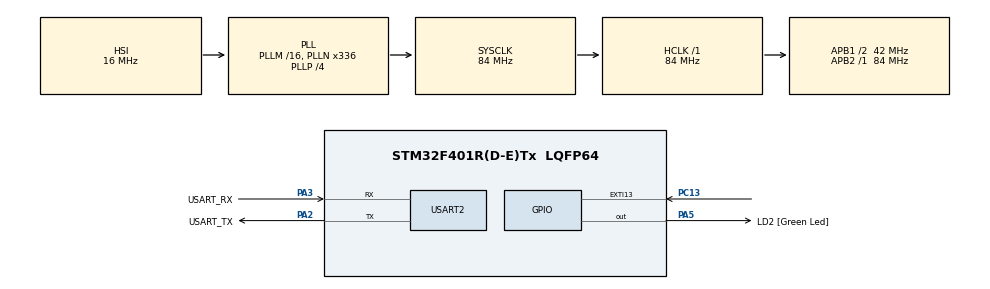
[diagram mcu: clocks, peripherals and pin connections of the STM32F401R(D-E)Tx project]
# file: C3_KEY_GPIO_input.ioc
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Mcu.Family=STM32F4
Mcu.Name=STM32F401R(D-E)Tx
Mcu.Package=LQFP64
NVIC.EXTI15_10_IRQn=true\:0\:0\:false\:false\:true\:true\:true
NVIC.PriorityGroup=NVIC_PRIORITYGROUP_0
PA13.GPIO_Label=TMS
PA13.Mode=Serial_Wire
PA13.Signal=SYS_JTMS-SWDIO
PA14.GPIO_Label=TCK
PA14.Mode=Serial_Wire
PA14.Signal=SYS_JTCK-SWCLK
PA2.GPIO_Label=USART_TX
PA2.GPIO_Mode=GPIO_MODE_AF_PP
PA2.GPIO_PuPd=GPIO_NOPULL
PA2.GPIO_Speed=GPIO_SPEED_FREQ_LOW
PA2.Mode=Asynchronous
PA2.Signal=USART2_TX
PA3.GPIO_Label=USART_RX
PA3.GPIO_Mode=GPIO_MODE_AF_PP
PA3.GPIO_PuPd=GPIO_NOPULL
PA3.GPIO_Speed=GPIO_SPEED_FREQ_LOW
PA3.Mode=Asynchronous
PA3.Signal=USART2_RX
PA5.GPIO_Label=LD2 [Green Led]
PA5.GPIO_Mode=GPIO_MODE_OUTPUT_PP
PA5.GPIO_PuPd=GPIO_NOPULL
PA5.GPIO_Speed=GPIO_SPEED_FREQ_LOW
PA5.PinState=GPIO_PIN_RESET
PA5.Signal=GPIO_Output
PB3.GPIO_Label=SWO
PB3.Signal=SYS_JTDO-SWO
PC13-ANTI_TAMP.GPIO_ModeDefaultEXTI=GPIO_MODE_IT_FALLING
PC13-ANTI_TAMP.Signal=GPXTI13
PC14-OSC32_IN.Mode=LSE-External-Oscillator
PC14-OSC32_IN.Signal=RCC_OSC32_IN
PC15-OSC32_OUT.Mode=LSE-External-Oscillator
PC15-OSC32_OUT.Signal=RCC_OSC32_OUT
PH0\ -\ OSC_IN.Mode=HSE-External-Clock-Source
PH0\ -\ OSC_IN.Signal=RCC_OSC_IN
PH1\ -\ OSC_OUT.Mode=HSE-External-Clock-Source
PH1\ -\ OSC_OUT.Signal=RCC_OSC_OUT
ProjectManager.HeapSize=0x200
ProjectManager.StackSize=0x400
ProjectManager.TargetToolchain=MDK-ARM V5.27
RCC.48MHZClocksFreq_Value=48000000
RCC.AHBFreq_Value=84000000
RCC.APB1CLKDivider=RCC_HCLK_DIV2
RCC.APB1Freq_Value=42000000
RCC.APB1TimFreq_Value=84000000
RCC.APB2Freq_Value=84000000
RCC.APB2TimFreq_Value=84000000
RCC.CortexFreq_Value=84000000
RCC.HCLKFreq_Value=84000000
RCC.HSE_VALUE=8000000
RCC.HSI_VALUE=16000000
RCC.PLLN=336
RCC.PLLP=RCC_PLLP_DIV4
RCC.PLLQ=7
RCC.SYSCLKFreq_VALUE=84000000
RCC.SYSCLKSource=RCC_SYSCLKSOURCE_PLLCLK
RCC.VCOOutputFreq_Value=336000000
USART2.VirtualMode=VM_ASYNC
board=NUCLEO-F401RE

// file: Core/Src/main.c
/* USER CODE BEGIN Header */
/**
  ******************************************************************************
  * @file           : main.c
  * @brief          : Main program body
  ******************************************************************************
  * @attention
  *
  * <h2><center>&copy; Copyright (c) 2020 STMicroelectronics.
  * All rights reserved.</center></h2>
  *
  * This software component is licensed by ST under BSD 3-Clause license,
  * the "License"; You may not use this file except in compliance with the
  * License. You may obtain a copy of the License at:
  *                        opensource.org/licenses/BSD-3-Clause
  *
  ******************************************************************************
  */
/* USER CODE END Header */
#include "main.h"

/* USER CODE BEGIN Includes */
#include <stdio.h>
#include "key.h"
#include "led.h"
/* USER CODE END Includes */

UART_HandleTypeDef huart2;

void SystemClock_Config(void);
static void MX_GPIO_Init(void);
static void MX_USART2_UART_Init(void);

/* USER CODE BEGIN 0 */
int fputc(int n, FILE *pf)
{
    uint8_t ch = (uint8_t)(n & 0xff);
    HAL_UART_Transmit(&huart2, &ch, 1, 0XFFFF);
    return n;
}
/*Key presse EXTI flag*/
static volatile uint8_t key_flag = 0;
/* USER CODE END 0 */

int main(void)
{

  /* MCU Configuration--------------------------------------------------------*/

  /* Reset of all peripherals, Initializes the Flash interface and the Systick. */
  HAL_Init();

  /* Configure the system clock */
  SystemClock_Config();

  /* Initialize all configured peripherals */
  MX_GPIO_Init();
  MX_USART2_UART_Init();

  /* Infinite loop */
  /* USER CODE BEGIN WHILE */
  for(int i = 0; i < 5;i++ )
  {
    printf(".");
    HAL_Delay(500);
  }
  printf("init succeed\r\n");

#if KEY_MODE == 1
  uint32_t prev_tick = HAL_GetTick();
  uint8_t key_status = 0;
  uint32_t cur_tick = 0;
#endif

  while (1)
  {

#if KEY_MODE == 0
      if(KeyReadStatus() == KEY_PRESS)
      {
        HAL_Delay(10);
        if(KeyReadStatus() == KEY_PRESS)
        {
            printf("Key pressed!\r\n");
            while(KeyReadStatus() == KEY_PRESS)
            {
                LED_Control(0);
                //printf("LED ON!\r\n");
            }
            printf("Key relased!\r\n");
        }
      }
      LED_Control(1);//LED_OFF

#elif KEY_MODE == 1

      cur_tick = HAL_GetTick();
      printf("prev_tick out = %d\r\n", prev_tick);
      printf("cur_tick out = %d\r\n", cur_tick);
      if (cur_tick > (prev_tick + 10))
      {
        prev_tick = cur_tick;
        printf("prev_tick in= %d\r\n", prev_tick);

        if (KeyReadStatus() == KEY_PRESS)
        {
            printf("key sms pressed\r\n");
            if(key_status == 0)
            {
                key_status = 1;
            }
            else if(key_status == 1)
            {
                key_status = 2;
                LED_Control(LED_ON);
                printf("key pressed\r\n");
            }
        }
        else if(key_status == 2)
        {
            key_status = 0;
            LED_Control(LED_OFF);
            printf("key released\r\n");
        }

      }

#elif KEY_MODE  == 2
    if(key_flag == 1)
    {
        key_flag = 0;
        printf("key pressed!\r\n");
    }

#elif KEY_MODE == 3

    HAL_PWR_EnterSTOPMode(PWR_LOWPOWERREGULATOR_ON, PWR_STOPENTRY_WFI);
    SystemClock_Config();
    printf("key pressed !\r\n");

#endif

    /* USER CODE END WHILE */

  }
}

void SystemClock_Config(void)
{
  RCC_OscInitTypeDef RCC_OscInitStruct = {0};
  RCC_ClkInitTypeDef RCC_ClkInitStruct = {0};

  /** Configure the main internal regulator output voltage
  */
  __HAL_RCC_PWR_CLK_ENABLE();
  __HAL_PWR_VOLTAGESCALING_CONFIG(PWR_REGULATOR_VOLTAGE_SCALE2);
  /** Initializes the RCC Oscillators according to the specified parameters
  * in the RCC_OscInitTypeDef structure.
  */
  RCC_OscInitStruct.OscillatorType = RCC_OSCILLATORTYPE_HSI;
  RCC_OscInitStruct.HSIState = RCC_HSI_ON;
  RCC_OscInitStruct.HSICalibrationValue = RCC_HSICALIBRATION_DEFAULT;
  RCC_OscInitStruct.PLL.PLLState = RCC_PLL_ON;
  RCC_OscInitStruct.PLL.PLLSource = RCC_PLLSOURCE_HSI;
  RCC_OscInitStruct.PLL.PLLM = 16;
  RCC_OscInitStruct.PLL.PLLN = 336;
  RCC_OscInitStruct.PLL.PLLP = RCC_PLLP_DIV4;
  RCC_OscInitStruct.PLL.PLLQ = 7;
  if (HAL_RCC_OscConfig(&RCC_OscInitStruct) != HAL_OK)
  {
    Error_Handler();
  }
  /** Initializes the CPU, AHB and APB buses clocks
  */
  RCC_ClkInitStruct.ClockType = RCC_CLOCKTYPE_HCLK|RCC_CLOCKTYPE_SYSCLK
                              |RCC_CLOCKTYPE_PCLK1|RCC_CLOCKTYPE_PCLK2;
  RCC_ClkInitStruct.SYSCLKSource = RCC_SYSCLKSOURCE_PLLCLK;
  RCC_ClkInitStruct.AHBCLKDivider = RCC_SYSCLK_DIV1;
  RCC_ClkInitStruct.APB1CLKDivider = RCC_HCLK_DIV2;
  RCC_ClkInitStruct.APB2CLKDivider = RCC_HCLK_DIV1;

  if (HAL_RCC_ClockConfig(&RCC_ClkInitStruct, FLASH_LATENCY_2) != HAL_OK)
  {
    Error_Handler();
  }
}

static void MX_USART2_UART_Init(void)
{

  huart2.Instance = USART2;
  huart2.Init.BaudRate = 115200;
  huart2.Init.WordLength = UART_WORDLENGTH_8B;
  huart2.Init.StopBits = UART_STOPBITS_1;
  huart2.Init.Parity = UART_PARITY_NONE;
  huart2.Init.Mode = UART_MODE_TX_RX;
  huart2.Init.HwFlowCtl = UART_HWCONTROL_NONE;
  huart2.Init.OverSampling = UART_OVERSAMPLING_16;
  if (HAL_UART_Init(&huart2) != HAL_OK)
  {
    Error_Handler();
  }

}

static void MX_GPIO_Init(void)
{
  GPIO_InitTypeDef GPIO_InitStruct = {0};

  /* GPIO Ports Clock Enable */
  __HAL_RCC_GPIOC_CLK_ENABLE();
  __HAL_RCC_GPIOH_CLK_ENABLE();
  __HAL_RCC_GPIOA_CLK_ENABLE();
  __HAL_RCC_GPIOB_CLK_ENABLE();

  /*Configure GPIO pin Output Level */
  HAL_GPIO_WritePin(LD2_GPIO_Port, LD2_Pin, GPIO_PIN_RESET);

  /*Configure GPIO pin : PC13 */
  GPIO_InitStruct.Pin = GPIO_PIN_13;
  GPIO_InitStruct.Mode = GPIO_MODE_IT_FALLING;
  GPIO_InitStruct.Pull = GPIO_NOPULL;
  HAL_GPIO_Init(GPIOC, &GPIO_InitStruct);

  /*Configure GPIO pin : LD2_Pin */
  GPIO_InitStruct.Pin = LD2_Pin;
  GPIO_InitStruct.Mode = GPIO_MODE_OUTPUT_PP;
  GPIO_InitStruct.Pull = GPIO_NOPULL;
  GPIO_InitStruct.Speed = GPIO_SPEED_FREQ_LOW;
  HAL_GPIO_Init(LD2_GPIO_Port, &GPIO_InitStruct);

  /* EXTI interrupt init*/
  HAL_NVIC_SetPriority(EXTI15_10_IRQn, 0, 0);
  HAL_NVIC_EnableIRQ(EXTI15_10_IRQn);

}

/* USER CODE BEGIN 4 */
void HAL_GPIO_EXTI_Callback(uint16_t GPIO_Pin)
{
    key_flag = 1;
}
/* USER CODE END 4 */

void Error_Handler(void)
{
}

/************************ (C) COPYRIGHT STMicroelectronics *****END OF FILE****/
